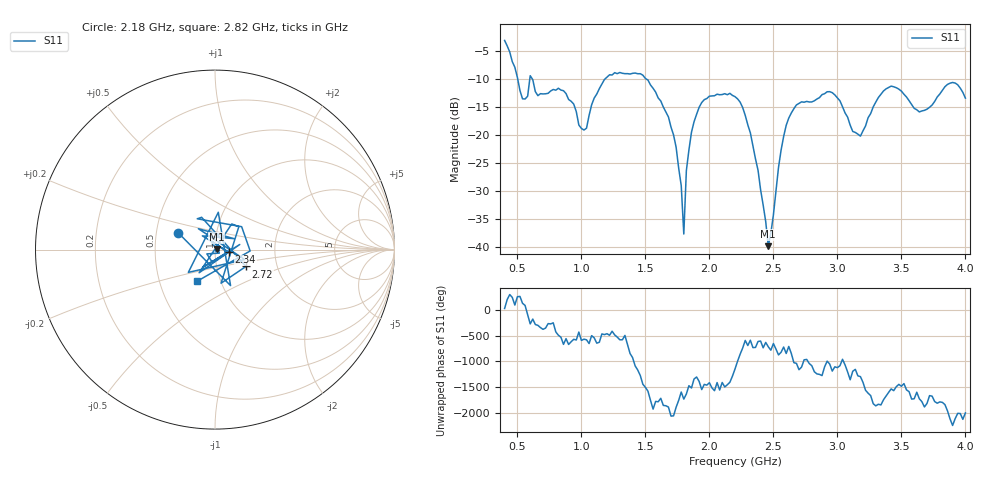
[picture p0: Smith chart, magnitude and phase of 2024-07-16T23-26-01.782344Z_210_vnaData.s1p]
!Created with skrf (http://scikit-rf.org).
# Hz S RI R 50.0
!freq ReS11 ImS11
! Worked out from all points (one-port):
!   181 points, 400 MHz to 4 GHz, reference 50 ohm
!   lowest |S11| = -39.8 dB at 2.46 GHz (marker M1), VSWR 1.02, Z = 51 + j0.101 ohm
!   |S11| at or under -10 dB: 501.8 MHz to 597.1 MHz (95.35 MHz wide, 17.4 % of centre); 614.8 MHz to 1.187 GHz (572.7 MHz wide, 63.6 % of centre); 1.502 GHz to end of sweep
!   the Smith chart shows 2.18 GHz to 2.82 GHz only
!   S11 on the Smith chart (normalised r, x): 2.18 GHz: 0.65, +0.13; 2.34 GHz: 1.17, -0.03; 2.72 GHz: 1.39, -0.27; 2.82 GHz: 0.78, -0.28
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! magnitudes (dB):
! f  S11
! 400 MHz  -3.2
! 540 MHz  -13.6
! 600 MHz  -9.5
! 660 MHz  -13.0
! 860 MHz  -12.2
! 1.02 GHz  -19.2
! 1.18 GHz  -10.2
! 1.3 GHz  -8.9
! 1.58 GHz  -12.4
! 1.68 GHz  -16.8
! 1.76 GHz  -26.0
! 1.8 GHz  -37.7
! 1.82 GHz  -26.4
! 1.9 GHz  -16.4
! 2.18 GHz  -13.0
! 2.2 GHz  -13.2
! 2.34 GHz  -22.0
! 2.46 GHz  -39.8
! 2.56 GHz  -22.8
! 2.66 GHz  -15.4
! 2.72 GHz  -14.1
! 2.82 GHz  -14.0
! 2.96 GHz  -12.5
! 3.1 GHz  -18.3
! 3.18 GHz  -20.2
! 3.42 GHz  -11.3
! 3.56 GHz  -13.9
! 4 GHz  -13.5
